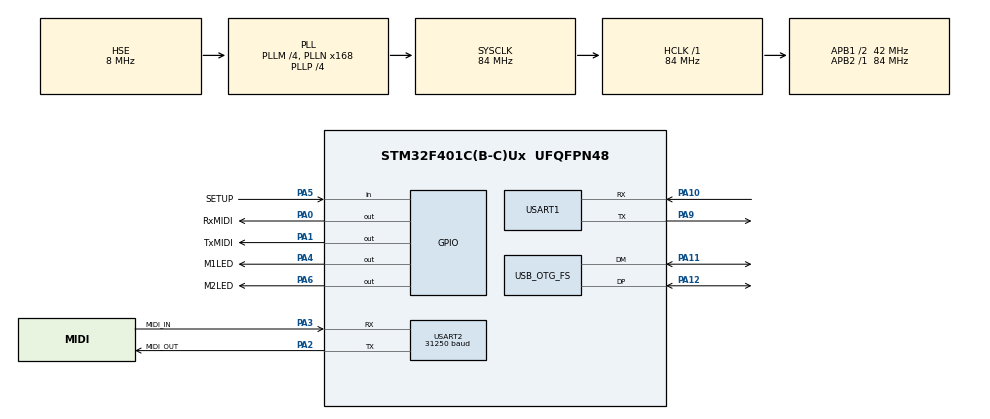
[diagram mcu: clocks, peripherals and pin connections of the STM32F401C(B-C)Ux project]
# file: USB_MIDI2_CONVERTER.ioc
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Dma.Request0=USART2_RX
Dma.Request1=USART2_TX
Dma.USART2_RX.0.Direction=DMA_PERIPH_TO_MEMORY
Dma.USART2_RX.0.FIFOMode=DMA_FIFOMODE_DISABLE
Dma.USART2_RX.0.Instance=DMA1_Stream5
Dma.USART2_RX.0.MemDataAlignment=DMA_MDATAALIGN_BYTE
Dma.USART2_RX.0.MemInc=DMA_MINC_ENABLE
Dma.USART2_RX.0.Mode=DMA_CIRCULAR
Dma.USART2_RX.0.PeriphDataAlignment=DMA_PDATAALIGN_BYTE
Dma.USART2_RX.0.PeriphInc=DMA_PINC_DISABLE
Dma.USART2_RX.0.Priority=DMA_PRIORITY_LOW
Dma.USART2_TX.1.Direction=DMA_MEMORY_TO_PERIPH
Dma.USART2_TX.1.FIFOMode=DMA_FIFOMODE_DISABLE
Dma.USART2_TX.1.Instance=DMA1_Stream6
Dma.USART2_TX.1.MemDataAlignment=DMA_MDATAALIGN_BYTE
Dma.USART2_TX.1.MemInc=DMA_MINC_ENABLE
Dma.USART2_TX.1.Mode=DMA_NORMAL
Dma.USART2_TX.1.PeriphDataAlignment=DMA_PDATAALIGN_BYTE
Dma.USART2_TX.1.PeriphInc=DMA_PINC_DISABLE
Dma.USART2_TX.1.Priority=DMA_PRIORITY_LOW
Mcu.Family=STM32F4
Mcu.Name=STM32F401C(B-C)Ux
Mcu.Package=UFQFPN48
NVIC.DMA1_Stream5_IRQn=true\:6\:0\:true\:false\:true\:false\:true\:true
NVIC.DMA1_Stream6_IRQn=true\:7\:0\:true\:false\:true\:false\:true\:true
NVIC.OTG_FS_IRQn=true\:5\:0\:true\:false\:true\:true\:true\:true
NVIC.PriorityGroup=NVIC_PRIORITYGROUP_4
NVIC.TIM1_UP_TIM10_IRQn=true\:0\:0\:true\:false\:true\:false\:true\:true
NVIC.TimeBase=TIM1_UP_TIM10_IRQn
NVIC.TimeBaseIP=TIM1
PA0-WKUP.GPIO_Label=RxMIDI
PA0-WKUP.Signal=GPIO_Output
PA1.GPIO_Label=TxMIDI
PA1.Signal=GPIO_Output
PA10.Mode=Asynchronous
PA10.Signal=USART1_RX
PA11.Mode=Device_Only
PA11.Signal=USB_OTG_FS_DM
PA12.Mode=Device_Only
PA12.Signal=USB_OTG_FS_DP
PA13.Mode=Serial_Wire
PA13.Signal=SYS_JTMS-SWDIO
PA14.Mode=Serial_Wire
PA14.Signal=SYS_JTCK-SWCLK
PA2.GPIO_Label=MIDI_OUT
PA2.Mode=Asynchronous
PA2.Signal=USART2_TX
PA3.GPIO_Label=MIDI_IN
PA3.Mode=Asynchronous
PA3.Signal=USART2_RX
PA4.GPIO_Label=M1LED
PA4.Signal=GPIO_Output
PA5.GPIO_Label=SETUP
PA5.GPIO_PuPd=GPIO_NOPULL
PA5.Signal=GPIO_Input
PA6.GPIO_Label=M2LED
PA6.Signal=GPIO_Output
PA9.Mode=Asynchronous
PA9.Signal=USART1_TX
PH0\ -\ OSC_IN.Mode=HSE-External-Oscillator
PH0\ -\ OSC_IN.Signal=RCC_OSC_IN
PH1\ -\ OSC_OUT.Mode=HSE-External-Oscillator
PH1\ -\ OSC_OUT.Signal=RCC_OSC_OUT
ProjectManager.HeapSize=0x200
ProjectManager.StackSize=0x400
ProjectManager.TargetToolchain=CMake
RCC.48MHZClocksFreq_Value=48000000
RCC.AHBFreq_Value=84000000
RCC.APB1CLKDivider=RCC_HCLK_DIV2
RCC.APB1Freq_Value=42000000
RCC.APB1TimFreq_Value=84000000
RCC.APB2Freq_Value=84000000
RCC.APB2TimFreq_Value=84000000
RCC.CortexFreq_Value=84000000
RCC.HCLKFreq_Value=84000000
RCC.HSE_VALUE=8000000
RCC.HSI_VALUE=16000000
RCC.LSE_VALUE=32768
RCC.PLLM=4
RCC.PLLN=168
RCC.PLLP=RCC_PLLP_DIV4
RCC.PLLQ=7
RCC.SYSCLKFreq_VALUE=84000000
RCC.SYSCLKSource=RCC_SYSCLKSOURCE_PLLCLK
RCC.VCOOutputFreq_Value=336000000
USART1.VirtualMode=VM_ASYNC
USART2.BaudRate=31250
USART2.VirtualMode=VM_ASYNC
USB_OTG_FS.VirtualMode=Device_Only
VP_SYS_VS_tim1.Mode=TIM1
board=custom

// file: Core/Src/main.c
/* USER CODE BEGIN Header */
/**
  ******************************************************************************
  * @file           : main.c
  * @brief          : Main program body
  ******************************************************************************
  * @attention
  *
  * Copyright (c) 2025 STMicroelectronics.
  * All rights reserved.
  *
  * This software is licensed under terms that can be found in the LICENSE file
  * in the root directory of this software component.
  * If no LICENSE file comes with this software, it is provided AS-IS.
  *
  ******************************************************************************
  */
/* USER CODE END Header */
#include "main.h"

/* USER CODE BEGIN Includes */
#include "FreeRTOS.h"
#include "task.h"
#include "queue.h"
#include "tusb.h"
#include "led_task.h"
#include "usb_device_task.h"
#include "usb_midi_task.h"
#include "uart_midi_task.h"
#include "midi_common.h"
#include "mode_manager.h"
#include "midi2_task.h"
#include "app_ump_device.h"
#include "ump_task.h"
#include "ump_discovery.h"
/* USER CODE END Includes */

/* USER CODE BEGIN PD */
// FreeRTOS Task Configuration
#define TASK_PRIORITY_LED           1
#define TASK_PRIORITY_MIDI_NORMAL   3
#define TASK_PRIORITY_USB_RX        (configMAX_PRIORITIES-2)
#define TASK_PRIORITY_USB_DEVICE    (configMAX_PRIORITIES-1)

#define TASK_STACK_LED              128   // Minimal for LED control
#define TASK_STACK_USB_DEVICE       512   // Sufficient for TinyUSB operations
#define TASK_STACK_MIDI             256   // Sufficient for MIDI processing
/* USER CODE END PD */

UART_HandleTypeDef huart1;
UART_HandleTypeDef huart2;
DMA_HandleTypeDef hdma_usart2_rx;
DMA_HandleTypeDef hdma_usart2_tx;

PCD_HandleTypeDef hpcd_USB_OTG_FS;

void SystemClock_Config(void);
static void MX_GPIO_Init(void);
static void MX_DMA_Init(void);
static void MX_USART1_UART_Init(void);
static void MX_USART2_UART_Init(void);
static void MX_USB_OTG_FS_PCD_Init(void);
/* USER CODE BEGIN PFP */
static BaseType_t MIDI_CreateTasks(void);
/* USER CODE END PFP */

int main(void)
{

  /* MCU Configuration--------------------------------------------------------*/

  /* Reset of all peripherals, Initializes the Flash interface and the Systick. */
  HAL_Init();

  /* Configure the system clock */
  SystemClock_Config();

  /* Initialize all configured peripherals */
  MX_GPIO_Init();
  MX_DMA_Init();
  MX_USART1_UART_Init();
  MX_USART2_UART_Init();
  MX_USB_OTG_FS_PCD_Init();
  /* USER CODE BEGIN 2 */

  /* Initialize mode manager */
  ModeManager_Init();

  /* Initialize MIDI system */
  if (MIDI_InitQueues() != pdPASS) {
    /* Failed to create queues - enter error state */
    Error_Handler();
  }

  /* Initialize UART TX DMA */
  UART_TX_DMA_Init();

  /* Initialize MIDI 2.0 system if in MIDI 2.0 mode */
  if (ModeManager_GetMode() == MIDI_MODE_2_0) {
    if (MIDI2_InitQueues() != pdPASS) {
      /* Failed to create MIDI 2.0 queues - enter error state */
      Error_Handler();
    }

    /* Initialize UMP Discovery */
    UMP_Discovery_Init();
  }

  /* Create and start all tasks */
  if (MIDI_CreateTasks() != pdPASS) {
    /* Failed to create tasks - enter error state */
    Error_Handler();
  }

  /* Start the FreeRTOS scheduler */
  vTaskStartScheduler();

  /* USER CODE END 2 */

  /* Infinite loop */
  while (1)
  {

  }
}

void SystemClock_Config(void)
{
  RCC_OscInitTypeDef RCC_OscInitStruct = {0};
  RCC_ClkInitTypeDef RCC_ClkInitStruct = {0};

  /** Configure the main internal regulator output voltage
  */
  __HAL_RCC_PWR_CLK_ENABLE();
  __HAL_PWR_VOLTAGESCALING_CONFIG(PWR_REGULATOR_VOLTAGE_SCALE2);

  /** Initializes the RCC Oscillators according to the specified parameters
  * in the RCC_OscInitTypeDef structure.
  */
  RCC_OscInitStruct.OscillatorType = RCC_OSCILLATORTYPE_HSE;
  RCC_OscInitStruct.HSEState = RCC_HSE_ON;
  RCC_OscInitStruct.PLL.PLLState = RCC_PLL_ON;
  RCC_OscInitStruct.PLL.PLLSource = RCC_PLLSOURCE_HSE;
  RCC_OscInitStruct.PLL.PLLM = 4;
  RCC_OscInitStruct.PLL.PLLN = 168;
  RCC_OscInitStruct.PLL.PLLP = RCC_PLLP_DIV4;
  RCC_OscInitStruct.PLL.PLLQ = 7;
  if (HAL_RCC_OscConfig(&RCC_OscInitStruct) != HAL_OK)
  {
    Error_Handler();
  }

  /** Initializes the CPU, AHB and APB buses clocks
  */
  RCC_ClkInitStruct.ClockType = RCC_CLOCKTYPE_HCLK|RCC_CLOCKTYPE_SYSCLK
                              |RCC_CLOCKTYPE_PCLK1|RCC_CLOCKTYPE_PCLK2;
  RCC_ClkInitStruct.SYSCLKSource = RCC_SYSCLKSOURCE_PLLCLK;
  RCC_ClkInitStruct.AHBCLKDivider = RCC_SYSCLK_DIV1;
  RCC_ClkInitStruct.APB1CLKDivider = RCC_HCLK_DIV2;
  RCC_ClkInitStruct.APB2CLKDivider = RCC_HCLK_DIV1;

  if (HAL_RCC_ClockConfig(&RCC_ClkInitStruct, FLASH_LATENCY_2) != HAL_OK)
  {
    Error_Handler();
  }
}

static void MX_USART1_UART_Init(void)
{

  huart1.Instance = USART1;
  huart1.Init.BaudRate = 115200;
  huart1.Init.WordLength = UART_WORDLENGTH_8B;
  huart1.Init.StopBits = UART_STOPBITS_1;
  huart1.Init.Parity = UART_PARITY_NONE;
  huart1.Init.Mode = UART_MODE_TX_RX;
  huart1.Init.HwFlowCtl = UART_HWCONTROL_NONE;
  huart1.Init.OverSampling = UART_OVERSAMPLING_16;
  if (HAL_UART_Init(&huart1) != HAL_OK)
  {
    Error_Handler();
  }

}

static void MX_USART2_UART_Init(void)
{

  huart2.Instance = USART2;
  huart2.Init.BaudRate = 31250;
  huart2.Init.WordLength = UART_WORDLENGTH_8B;
  huart2.Init.StopBits = UART_STOPBITS_1;
  huart2.Init.Parity = UART_PARITY_NONE;
  huart2.Init.Mode = UART_MODE_TX_RX;
  huart2.Init.HwFlowCtl = UART_HWCONTROL_NONE;
  huart2.Init.OverSampling = UART_OVERSAMPLING_16;
  if (HAL_UART_Init(&huart2) != HAL_OK)
  {
    Error_Handler();
  }

}

static void MX_USB_OTG_FS_PCD_Init(void)
{

  hpcd_USB_OTG_FS.Instance = USB_OTG_FS;
  hpcd_USB_OTG_FS.Init.dev_endpoints = 4;
  hpcd_USB_OTG_FS.Init.speed = PCD_SPEED_FULL;
  hpcd_USB_OTG_FS.Init.dma_enable = DISABLE;
  hpcd_USB_OTG_FS.Init.phy_itface = PCD_PHY_EMBEDDED;
  hpcd_USB_OTG_FS.Init.Sof_enable = DISABLE;
  hpcd_USB_OTG_FS.Init.low_power_enable = DISABLE;
  hpcd_USB_OTG_FS.Init.lpm_enable = DISABLE;
  hpcd_USB_OTG_FS.Init.vbus_sensing_enable = DISABLE;
  hpcd_USB_OTG_FS.Init.use_dedicated_ep1 = DISABLE;
  if (HAL_PCD_Init(&hpcd_USB_OTG_FS) != HAL_OK)
  {
    Error_Handler();
  }

}

static void MX_DMA_Init(void)
{

  /* DMA controller clock enable */
  __HAL_RCC_DMA1_CLK_ENABLE();

  /* DMA interrupt init */
  /* DMA1_Stream5_IRQn interrupt configuration */
  HAL_NVIC_SetPriority(DMA1_Stream5_IRQn, 6, 0);
  HAL_NVIC_EnableIRQ(DMA1_Stream5_IRQn);
  /* DMA1_Stream6_IRQn interrupt configuration */
  HAL_NVIC_SetPriority(DMA1_Stream6_IRQn, 7, 0);
  HAL_NVIC_EnableIRQ(DMA1_Stream6_IRQn);

}

static void MX_GPIO_Init(void)
{
  GPIO_InitTypeDef GPIO_InitStruct = {0};

  /* GPIO Ports Clock Enable */
  __HAL_RCC_GPIOH_CLK_ENABLE();
  __HAL_RCC_GPIOA_CLK_ENABLE();

  /*Configure GPIO pin Output Level */
  HAL_GPIO_WritePin(GPIOA, RxMIDI_Pin|TxMIDI_Pin|M1LED_Pin|M2LED_Pin, GPIO_PIN_RESET);

  /*Configure GPIO pins : RxMIDI_Pin TxMIDI_Pin M1LED_Pin M2LED_Pin */
  GPIO_InitStruct.Pin = RxMIDI_Pin|TxMIDI_Pin|M1LED_Pin|M2LED_Pin;
  GPIO_InitStruct.Mode = GPIO_MODE_OUTPUT_PP;
  GPIO_InitStruct.Pull = GPIO_NOPULL;
  GPIO_InitStruct.Speed = GPIO_SPEED_FREQ_LOW;
  HAL_GPIO_Init(GPIOA, &GPIO_InitStruct);

  /*Configure GPIO pin : SETUP_Pin */
  GPIO_InitStruct.Pin = SETUP_Pin;
  GPIO_InitStruct.Mode = GPIO_MODE_INPUT;
  GPIO_InitStruct.Pull = GPIO_NOPULL;
  HAL_GPIO_Init(SETUP_GPIO_Port, &GPIO_InitStruct);

}

/* USER CODE BEGIN 4 */
/**
  * @brief Create all MIDI-related FreeRTOS tasks
  * @retval pdPASS if all tasks created successfully, pdFAIL otherwise
  */
static BaseType_t MIDI_CreateTasks(void) {
  BaseType_t xReturned;
  MidiMode_t current_mode = ModeManager_GetMode();

  // LED task for status indication
  xReturned = xTaskCreate(vLEDBlinkTask, "led", TASK_STACK_LED, NULL, TASK_PRIORITY_LED, NULL);
  if (xReturned != pdPASS) return pdFAIL;

  // USB-related tasks
  xReturned = xTaskCreate(vUSBDeviceTask, "usbd", TASK_STACK_USB_DEVICE, NULL, TASK_PRIORITY_USB_DEVICE, NULL);
  if (xReturned != pdPASS) return pdFAIL;

  // UART-related tasks
  xReturned = xTaskCreate(vUartRxMidiTask, "uart_rx", TASK_STACK_MIDI, NULL, TASK_PRIORITY_MIDI_NORMAL, NULL);
  if (xReturned != pdPASS) return pdFAIL;

  if (current_mode == MIDI_MODE_1_0) {
    // MIDI 1.0 mode: use original tasks
    xReturned = xTaskCreate(vUsbToUartTask, "usb2uart", TASK_STACK_MIDI, NULL, TASK_PRIORITY_MIDI_NORMAL, NULL);
    if (xReturned != pdPASS) return pdFAIL;

    xReturned = xTaskCreate(vUsbRxMidiTask, "usb_rx", TASK_STACK_MIDI, NULL, TASK_PRIORITY_USB_RX, NULL);
    if (xReturned != pdPASS) return pdFAIL;

    xReturned = xTaskCreate(vUartToUsbTask, "uart2usb", TASK_STACK_MIDI, NULL, TASK_PRIORITY_MIDI_NORMAL, NULL);
    if (xReturned != pdPASS) return pdFAIL;
  } else {
    // MIDI 2.0 mode: use UMP conversion tasks
    xReturned = xTaskCreate(vMidi2UartToUmpTask, "uart2ump", TASK_STACK_MIDI, NULL, TASK_PRIORITY_MIDI_NORMAL, NULL);
    if (xReturned != pdPASS) return pdFAIL;

    xReturned = xTaskCreate(vMidi2UmpToUartTask, "ump2uart", TASK_STACK_MIDI, NULL, TASK_PRIORITY_MIDI_NORMAL, NULL);
    if (xReturned != pdPASS) return pdFAIL;

    // UMP USB communication tasks
    xReturned = xTaskCreate(vUmpToUsbTask, "ump2usb", TASK_STACK_MIDI, NULL, TASK_PRIORITY_MIDI_NORMAL, NULL);
    if (xReturned != pdPASS) return pdFAIL;

    xReturned = xTaskCreate(vUsbToUmpTask, "usb2ump", TASK_STACK_MIDI, NULL, TASK_PRIORITY_USB_RX, NULL);
    if (xReturned != pdPASS) return pdFAIL;
  }

  return pdPASS;
}
/* USER CODE END 4 */

void HAL_TIM_PeriodElapsedCallback(TIM_HandleTypeDef *htim)
{
  if (htim->Instance == TIM1)
  {
    HAL_IncTick();
  }
}

void Error_Handler(void)
{
  __disable_irq();
  while (1)
  {
  }
}
